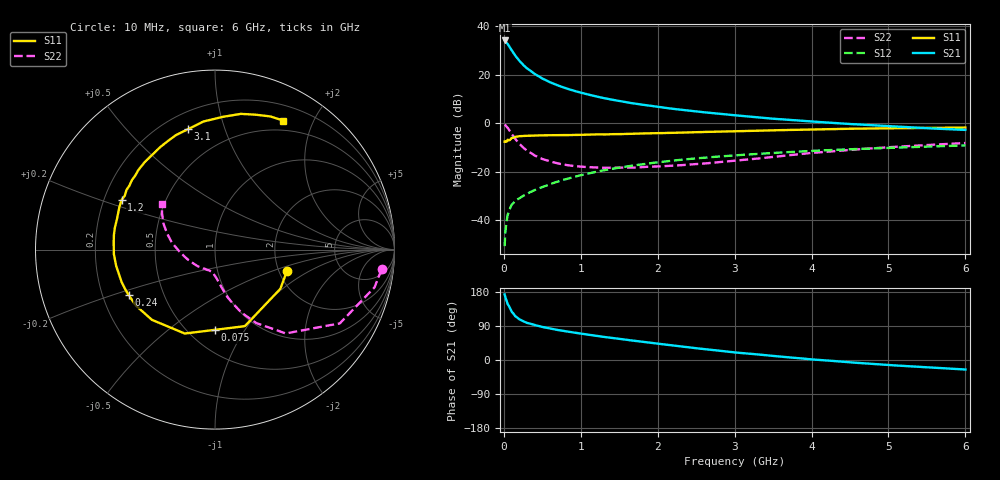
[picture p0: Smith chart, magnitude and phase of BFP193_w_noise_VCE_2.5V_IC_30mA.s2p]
! Infineon Technologies  Discrete & RF Semiconductors
! BFP193
! VCE = 2.5 V,  IC =  30 mA
! Common Emitter S-Parameters:  Jan 2016
# GHz  S  MA  R  50
!  f  S11  S21  S12  S22
! GHz  MAG  ANG  MAG  ANG  MAG  ANG  MAG  ANG
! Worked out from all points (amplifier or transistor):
!   210 points, 10 MHz to 6 GHz, reference 50 ohm
!   highest |S21| = 34.2 dB at 10 MHz (marker M1)
!   |S21| within 3 dB of that: start of sweep to 80.14 MHz
!   unconditionally stable (mu >= 1): 633.6 MHz to 3.891 GHz
!   at 185 MHz: K = 0.59, MSG = 28.9 dB, |S12| = -31.3 dB
!   at 1.52 GHz: K = 1.07, MAG = 12.0 dB, |S12| = -18.2 dB
!   at 6 GHz: K = 0.93, MSG = 3.2 dB, |S12| = -9.2 dB
!   lowest NFmin = 1.90 dB at 450 MHz
!   S11 on the Smith chart (normalised r, x): 10 MHz: 2.22, -0.63; 75 MHz: 0.67, -0.74; 240 MHz: 0.31, -0.22; 1.2 GHz: 0.27, +0.23; 3.1 GHz: 0.30, +0.76; 6 GHz: 0.38, +1.59
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0.01  0.4185 -16.2  51.09 173.1  0.0029 84.5  0.9346 -6.8
0.02  0.4246 -31.0  49.34 165.1  0.0057 80.4  0.9133 -13.3
0.05  0.4578 -68.7  43.26 147.6  0.0128 67.3  0.8077 -30.6
0.075  0.4471 -90.1  37.28 139.0  0.0166 61.0  0.6994 -38.9
0.1  0.497 -109.8  32.42 127.6  0.0206 57.1  0.6107 -49.9
0.15  0.5259 -131.9  24.57 115.2  0.025 53.3  0.4698 -60.6
0.2  0.5403 -144.8  19.59 107.6  0.0283 53.2  0.38 -67.3
0.24  0.5436 -152.4  16.74 103.3  0.0309 53.4  0.3275 -70.8
0.3  0.5509 -160.9  13.6 98.0  0.0349 54.9  0.2734 -75.3
0.4  0.5582 -170.7  10.41 92.1  0.0417 56.9  0.2162 -79.9
0.5  0.564 -177.5  8.368 87.2  0.0481 59.0  0.1829 -83.4
0.6  0.5658 176.4  7.022 83.0  0.0553 60.5  0.1623 -86.5
0.7  0.5691 171.7  6.05 79.1  0.0624 60.8  0.1482 -89.4
0.9  0.5712 163.9  4.721 72.7  0.0773 61.1  0.1311 -94.6
1.02  0.5775 158.9  4.193 69.1  0.0858 60.5  0.1263 -97.6
1.2  0.5894 152.1  3.577 63.8  0.0993 59.7  0.1217 -103.3
1.6  0.6035 140.0  2.694 53.1  0.1283 55.8  0.1215 -115.5
2.02  0.6255 128.5  2.156 42.7  0.1573 51.1  0.1284 -129.7
3.1  0.6876 102.6  1.413 18.3  0.2224 37.7  0.1739 -167.0
4.1  0.7461 85.0  1.06 0.2  0.273 26.0  0.251 168.6
5.1  0.7884 71.9  0.853 -14.5  0.3137 14.9  0.3267 151.9
6  0.8131 62.2  0.728 -25.1  0.3483 5.3  0.3899 139.4
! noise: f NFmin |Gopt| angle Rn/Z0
0.45  1.9  0.4  180  0.09
0.9  1.95  0.43  -173  0.11
1.8  2.4  0.58  -144  0.24
